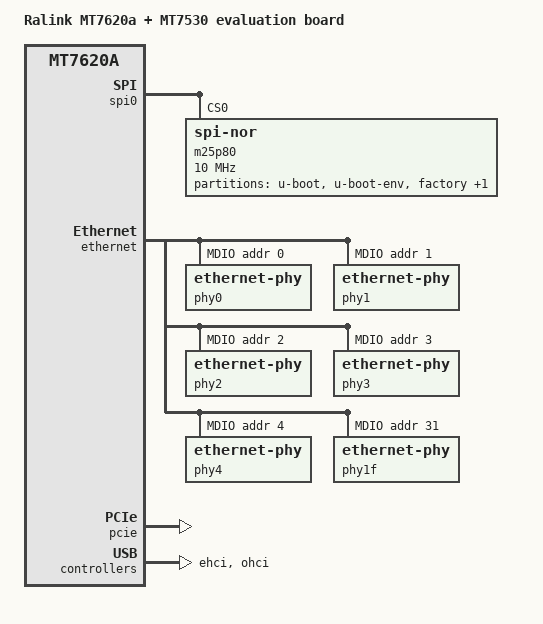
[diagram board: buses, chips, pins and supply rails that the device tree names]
/dts-v1/;

#include "mt7620a.dtsi"

/ {
	compatible = "ralink,mt7620a-eval-board", "ralink,mt7620a-soc";
	model = "Ralink MT7620a + MT7530 evaluation board";
};

&spi0 {
	status = "okay";

	m25p80@0 {
		#address-cells = <1>;
		#size-cells = <1>;
		compatible = "jedec,spi-nor";
		reg = <0>;
		linux,modalias = "m25p80", "s25fl064k";
		spi-max-frequency = <10000000>;

		partition@0 {
			label = "u-boot";
			reg = <0x0 0x30000>;
			read-only;
		};

		partition@30000 {
			label = "u-boot-env";
			reg = <0x30000 0x10000>;
			read-only;
		};

		factory: partition@40000 {
			label = "factory";
			reg = <0x40000 0x10000>;
			read-only;
		};

		partition@50000 {
			label = "firmware";
			reg = <0x50000 0x7b0000>;
		};
	};
};

&pinctrl {
	state_default: pinctrl0 {
		gpio {
			ralink,group = "i2c", "uartf";
			ralink,function = "gpio";
		};
	};
};

&ethernet {
	status = "okay";
	pinctrl-names = "default";
	pinctrl-0 = <&rgmii1_pins &rgmii2_pins &mdio_pins>;
	mediatek,portmap = "llllw";

	port@5 {
		status = "okay";
		mediatek,fixed-link = <1000 1 1 1>;
		phy-mode = "rgmii";
	};

	mdio-bus {
		status = "okay";

		phy0: ethernet-phy@0 {
			reg = <0>;
			phy-mode = "rgmii";
		};

		phy1: ethernet-phy@1 {
			reg = <1>;
			phy-mode = "rgmii";
		};

		phy2: ethernet-phy@2 {
			reg = <2>;
			phy-mode = "rgmii";
		};

		phy3: ethernet-phy@3 {
			reg = <3>;
			phy-mode = "rgmii";
		};

		phy4: ethernet-phy@4 {
			reg = <4>;
			phy-mode = "rgmii";
		};

		phy1f: ethernet-phy@1f {
			reg = <0x1f>;
			phy-mode = "rgmii";
		};
	};
};

&gsw {
	mediatek,port4 = "gmac";
	mediatek,mt7530 = <1>;
};

&pcie {
	status = "okay";
};

&ehci {
	status = "okay";
};

&ohci {
	status = "okay";
};
